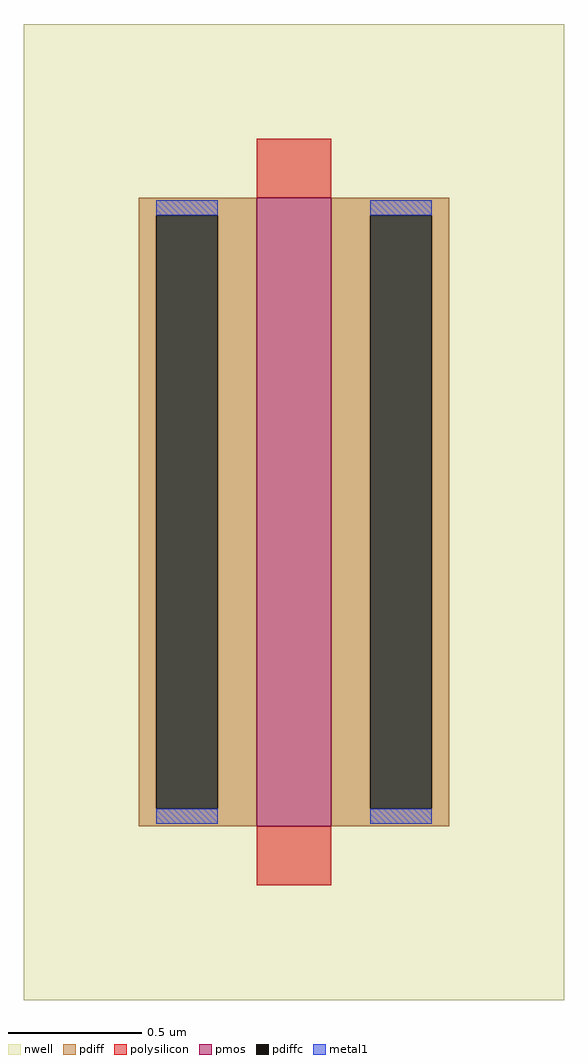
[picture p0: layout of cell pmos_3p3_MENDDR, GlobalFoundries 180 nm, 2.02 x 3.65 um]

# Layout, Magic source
magic
tech gf180mcuC
magscale 1 10
<< nwell >>
rect -202 -365 202 365
<< pmos >>
rect -28 -235 28 235
<< pdiff >>
rect -116 222 -28 235
rect -116 -222 -103 222
rect -57 -222 -28 222
rect -116 -235 -28 -222
rect 28 222 116 235
rect 28 -222 57 222
rect 103 -222 116 222
rect 28 -235 116 -222
<< pdiffc >>
rect -103 -222 -57 222
rect 57 -222 103 222
<< polysilicon >>
rect -28 235 28 279
rect -28 -279 28 -235
<< metal1 >>
rect -103 222 -57 233
rect -103 -233 -57 -222
rect 57 222 103 233
rect 57 -233 103 -222
<< properties >>
string gencell pmos_3p3
string library gf180mcu
string parameters w 2.35 l 0.280 m 1 nf 1 diffcov 100 polycov 100 guard 0 glc 0 grc 0 gtc 0 gbc 0 tbcov 100 rlcov 100 topc 0 botc 0 poverlap 0 doverlap 1 lmin 0.28 wmin 0.22 full_metal 0 compatible {pmos_3p3 pmos_6p0}
<< end >>
